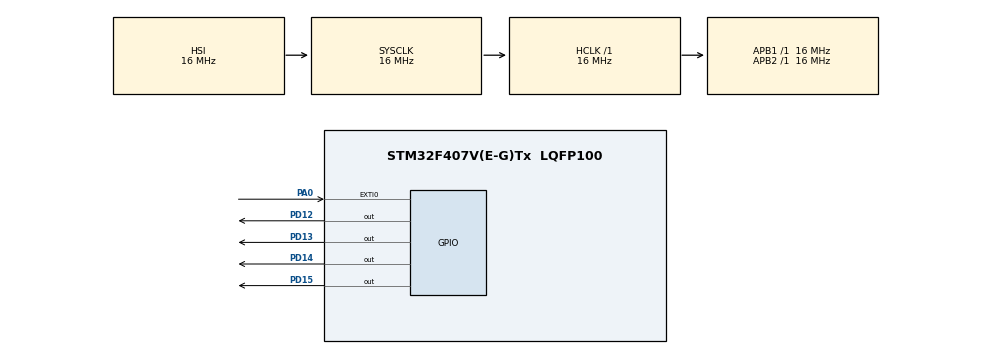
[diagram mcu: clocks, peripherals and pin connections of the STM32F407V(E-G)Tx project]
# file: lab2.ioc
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Mcu.Family=STM32F4
Mcu.Name=STM32F407V(E-G)Tx
Mcu.Package=LQFP100
NVIC.EXTI0_IRQn=true\:0\:0\:false\:false\:true\:true\:true\:true
NVIC.PriorityGroup=NVIC_PRIORITYGROUP_4
PA0-WKUP.GPIO_ModeDefaultEXTI=GPIO_MODE_IT_RISING
PA0-WKUP.Signal=GPXTI0
PD12.Signal=GPIO_Output
PD13.Signal=GPIO_Output
PD14.Signal=GPIO_Output
PD15.Signal=GPIO_Output
ProjectManager.HeapSize=0x200
ProjectManager.StackSize=0x400
ProjectManager.TargetToolchain=STM32CubeIDE
RCC.AHBFreq_Value=16000000
RCC.APB1Freq_Value=16000000
RCC.APB2Freq_Value=16000000
RCC.CortexFreq_Value=16000000
RCC.HSE_VALUE=25000000
RCC.HSI_VALUE=16000000
RCC.LSE_VALUE=32768
RCC.SYSCLKFreq_VALUE=16000000
RCC.VCOOutputFreq_Value=192000000
board=custom

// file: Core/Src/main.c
/* USER CODE BEGIN Header */
/**
  ******************************************************************************
  * @file           : main.c
  * @brief          : Main program body
  ******************************************************************************
  * @attention
  *
  * Copyright (c) 2026 STMicroelectronics.
  * All rights reserved.
  *
  * This software is licensed under terms that can be found in the LICENSE file
  * in the root directory of this software component.
  * If no LICENSE file comes with this software, it is provided AS-IS.
  *
  ******************************************************************************
  */
/* USER CODE END Header */
#include "main.h"

/* USER CODE BEGIN PV */
volatile uint8_t mode = 0;
/* USER CODE END PV */

void SystemClock_Config(void);
static void MX_GPIO_Init(void);

int main(void)
{

  /* MCU Configuration--------------------------------------------------------*/

  /* Reset of all peripherals, Initializes the Flash interface and the Systick. */
  HAL_Init();

  /* Configure the system clock */
  SystemClock_Config();

  /* Initialize all configured peripherals */
  MX_GPIO_Init();

  /* Infinite loop */
  /* USER CODE BEGIN WHILE */
  while (1)
  {
	  switch(mode) {
	  	  case 0:
	  		  HAL_GPIO_WritePin(GPIOD, GPIO_PIN_15, RESET);
	  		  HAL_GPIO_WritePin(GPIOD, GPIO_PIN_12, SET);
	  		  HAL_Delay(200);
	  		  HAL_GPIO_WritePin(GPIOD, GPIO_PIN_12, RESET);
	  		  HAL_GPIO_WritePin(GPIOD, GPIO_PIN_13, SET);
	  		  HAL_Delay(200);
	  		  HAL_GPIO_WritePin(GPIOD, GPIO_PIN_13, RESET);
	  		  HAL_GPIO_WritePin(GPIOD, GPIO_PIN_14, SET);
	  		  HAL_Delay(200);
	  		  HAL_GPIO_WritePin(GPIOD, GPIO_PIN_14, RESET);
	  		  HAL_GPIO_WritePin(GPIOD, GPIO_PIN_15, SET);
	  		  HAL_Delay(200);
		  	  break;
	  	  case 1:
			  HAL_GPIO_WritePin(GPIOD, GPIO_PIN_12, SET);
			  HAL_GPIO_WritePin(GPIOD, GPIO_PIN_14, SET);
			  HAL_GPIO_WritePin(GPIOD, GPIO_PIN_13, RESET);
			  HAL_GPIO_WritePin(GPIOD, GPIO_PIN_15, RESET);
			  HAL_Delay(400);
			  HAL_GPIO_WritePin(GPIOD, GPIO_PIN_13, SET);
			  HAL_GPIO_WritePin(GPIOD, GPIO_PIN_15, SET);
			  HAL_GPIO_WritePin(GPIOD, GPIO_PIN_12, RESET);
			  HAL_GPIO_WritePin(GPIOD, GPIO_PIN_14, RESET);
			  HAL_Delay(400);
	  		  break;
	  	  case 2:
			  HAL_GPIO_WritePin(GPIOD, GPIO_PIN_15, RESET);
			  HAL_GPIO_WritePin(GPIOD, GPIO_PIN_13, RESET);
			  HAL_GPIO_WritePin(GPIOD, GPIO_PIN_14, RESET);
			  HAL_GPIO_WritePin(GPIOD, GPIO_PIN_12, RESET);

	  		  HAL_GPIO_WritePin(GPIOD, GPIO_PIN_12, SET);
	  		  HAL_Delay(100);
	  		  HAL_GPIO_WritePin(GPIOD, GPIO_PIN_13, SET);
	  		  HAL_Delay(100);
	  		  HAL_GPIO_WritePin(GPIOD, GPIO_PIN_14, SET);
	  		  HAL_Delay(100);
	  		  HAL_GPIO_WritePin(GPIOD, GPIO_PIN_15, SET);
	  		  HAL_Delay(100);
	  		  HAL_GPIO_WritePin(GPIOD, GPIO_PIN_12, RESET);
	  		  HAL_Delay(100);
	  		  HAL_GPIO_WritePin(GPIOD, GPIO_PIN_13, RESET);
	  		  HAL_Delay(100);
	  		  HAL_GPIO_WritePin(GPIOD, GPIO_PIN_14, RESET);
	  		  HAL_Delay(100);
	  		  HAL_GPIO_WritePin(GPIOD, GPIO_PIN_15, RESET);
	  		  HAL_Delay(100);
		  	  break;
	  	  case 3:
			  HAL_GPIO_WritePin(GPIOD, GPIO_PIN_12, SET);
			  HAL_GPIO_WritePin(GPIOD, GPIO_PIN_13, SET);
			  HAL_GPIO_WritePin(GPIOD, GPIO_PIN_14, SET);
			  HAL_GPIO_WritePin(GPIOD, GPIO_PIN_15, SET);
			  HAL_Delay(500);
			  HAL_GPIO_WritePin(GPIOD, GPIO_PIN_12, RESET);
			  HAL_GPIO_WritePin(GPIOD, GPIO_PIN_13, RESET);
			  HAL_GPIO_WritePin(GPIOD, GPIO_PIN_14, RESET);
			  HAL_GPIO_WritePin(GPIOD, GPIO_PIN_15, RESET);
			  HAL_Delay(500);
	  		  break;
	  }
    /* USER CODE END WHILE */

  }
}

void SystemClock_Config(void)
{
  RCC_OscInitTypeDef RCC_OscInitStruct = {0};
  RCC_ClkInitTypeDef RCC_ClkInitStruct = {0};

  /** Configure the main internal regulator output voltage
  */
  __HAL_RCC_PWR_CLK_ENABLE();
  __HAL_PWR_VOLTAGESCALING_CONFIG(PWR_REGULATOR_VOLTAGE_SCALE1);

  /** Initializes the RCC Oscillators according to the specified parameters
  * in the RCC_OscInitTypeDef structure.
  */
  RCC_OscInitStruct.OscillatorType = RCC_OSCILLATORTYPE_HSI;
  RCC_OscInitStruct.HSIState = RCC_HSI_ON;
  RCC_OscInitStruct.HSICalibrationValue = RCC_HSICALIBRATION_DEFAULT;
  RCC_OscInitStruct.PLL.PLLState = RCC_PLL_NONE;
  if (HAL_RCC_OscConfig(&RCC_OscInitStruct) != HAL_OK)
  {
    Error_Handler();
  }

  /** Initializes the CPU, AHB and APB buses clocks
  */
  RCC_ClkInitStruct.ClockType = RCC_CLOCKTYPE_HCLK|RCC_CLOCKTYPE_SYSCLK
                              |RCC_CLOCKTYPE_PCLK1|RCC_CLOCKTYPE_PCLK2;
  RCC_ClkInitStruct.SYSCLKSource = RCC_SYSCLKSOURCE_HSI;
  RCC_ClkInitStruct.AHBCLKDivider = RCC_SYSCLK_DIV1;
  RCC_ClkInitStruct.APB1CLKDivider = RCC_HCLK_DIV1;
  RCC_ClkInitStruct.APB2CLKDivider = RCC_HCLK_DIV1;

  if (HAL_RCC_ClockConfig(&RCC_ClkInitStruct, FLASH_LATENCY_0) != HAL_OK)
  {
    Error_Handler();
  }
}

static void MX_GPIO_Init(void)
{
  GPIO_InitTypeDef GPIO_InitStruct = {0};

  /* GPIO Ports Clock Enable */
  __HAL_RCC_GPIOA_CLK_ENABLE();
  __HAL_RCC_GPIOD_CLK_ENABLE();

  /*Configure GPIO pin Output Level */
  HAL_GPIO_WritePin(GPIOD, GPIO_PIN_12|GPIO_PIN_13|GPIO_PIN_14|GPIO_PIN_15, GPIO_PIN_RESET);

  /*Configure GPIO pin : PA0 */
  GPIO_InitStruct.Pin = GPIO_PIN_0;
  GPIO_InitStruct.Mode = GPIO_MODE_IT_RISING;
  GPIO_InitStruct.Pull = GPIO_NOPULL;
  HAL_GPIO_Init(GPIOA, &GPIO_InitStruct);

  /*Configure GPIO pins : PD12 PD13 PD14 PD15 */
  GPIO_InitStruct.Pin = GPIO_PIN_12|GPIO_PIN_13|GPIO_PIN_14|GPIO_PIN_15;
  GPIO_InitStruct.Mode = GPIO_MODE_OUTPUT_PP;
  GPIO_InitStruct.Pull = GPIO_NOPULL;
  GPIO_InitStruct.Speed = GPIO_SPEED_FREQ_LOW;
  HAL_GPIO_Init(GPIOD, &GPIO_InitStruct);

  /* EXTI interrupt init*/
  HAL_NVIC_SetPriority(EXTI0_IRQn, 0, 0);
  HAL_NVIC_EnableIRQ(EXTI0_IRQn);

}

void Error_Handler(void)
{
  __disable_irq();
  while (1)
  {
  }
}
